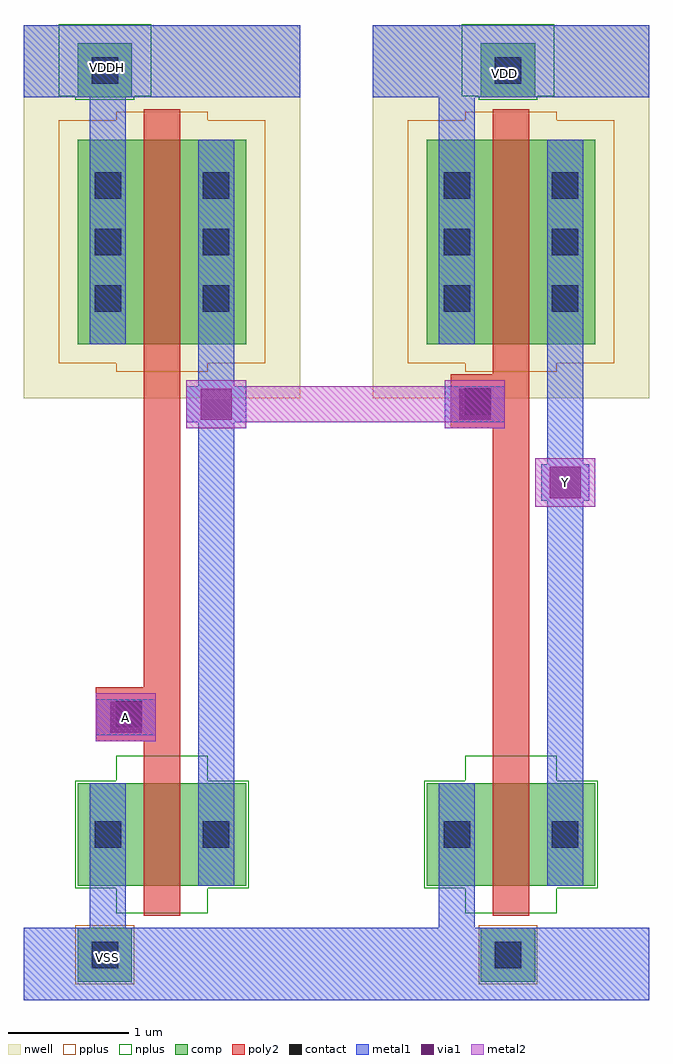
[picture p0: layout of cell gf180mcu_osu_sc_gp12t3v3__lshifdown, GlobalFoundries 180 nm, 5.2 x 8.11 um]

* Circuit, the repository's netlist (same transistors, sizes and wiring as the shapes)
* Copyright 2022 Google LLC
*
* Licensed under the Apache License, Version 2.0 (the "License");
* you may not use this file except in compliance with the License.
* You may obtain a copy of the License at
*
*      http://www.apache.org/licenses/LICENSE-2.0
*
* Unless required by applicable law or agreed to in writing, software
* distributed under the License is distributed on an "AS IS" BASIS,
* WITHOUT WARRANTIES OR CONDITIONS OF ANY KIND, either express or implied.
* See the License for the specific language governing permissions and
* limitations under the License.

.inc "/import/yukari1/lrburle/OSU_180/char/techfiles/design.hspice"
.lib "/import/yukari1/lrburle/OSU_180/char/techfiles/sm141064.hspice" typical

.GLOBAL VDD
.GLOBAL VSS

.option scale=0.05u

.subckt gf180mcu_osu_sc_gp12t3v3__lshifdown A Y
X0 a_26_19 A VDDH VDDH pmos_3p3 w=34 l=6
X1 Y a_26_19 VSS VSS nmos_3p3 w=17 l=6
X2 Y a_26_19 VDD VDD pmos_3p3 w=34 l=6
X3 a_26_19 A VSS VSS nmos_3p3 w=17 l=6
.ends

** hspice subcircuit dictionary

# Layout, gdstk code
import gdstk
lib = gdstk.Library(unit=1e-6, precision=1e-09)
def R(c, l, rs):  # rectangles x0, y0, x1, y1
    for r in rs: c.add(gdstk.rectangle(r[:2], r[2:], *l))
def A(c, l, x, y, w, h, nx, ny, dx, dy):  # array of equal rectangles
    R(c, l, [(x+i*dx, y+j*dy, x+i*dx+w, y+j*dy+h) for i in range(nx) for j in range(ny)])
nwell = (21, 0)
comp = (22, 0)
poly2 = (30, 0)
pplus = (31, 0)
nplus = (32, 0)
contact = (33, 0)
metal1 = (34, 0)
via1 = (35, 0)
metal2 = (36, 0)

gf180mcu_osu_sc_gp12t3v3 = lib.new_cell('gf180mcu_osu_sc_gp12t3v3__lshifdown')
R(gf180mcu_osu_sc_gp12t3v3, nwell, [(0,5,2.3,8.1), (2.9,5,5.2,8.1)])
R(gf180mcu_osu_sc_gp12t3v3, comp, [(0.45,0.15,0.9,0.6), (3.8,0.15,4.25,0.6), (0.45,0.95,1.85,1.8), (3.35,0.95,4.75,1.8), (0.45,5.45,1.85,7.15), (3.35,5.45,4.75,7.15), (0.45,7.5,0.9,7.95), (3.8,7.5,4.25,7.95)])
R(gf180mcu_osu_sc_gp12t3v3, poly2, [(1,0.7,1.3,2.15), (3.9,0.7,4.2,4.75), (0.6,2.15,1.3,2.6), (1,2.6,1.3,7.4), (3.55,4.75,4.2,5.2), (3.9,5.2,4.2,7.4)])
R(gf180mcu_osu_sc_gp12t3v3, pplus, [(0.43,0.13,0.92,0.62), (3.78,0.13,4.27,0.62), (0.77,5.22,1.53,5.29), (3.67,5.22,4.43,5.29), (0.29,5.29,2.01,7.31), (3.19,5.29,4.91,7.31), (0.77,7.31,1.53,7.38), (3.67,7.31,4.43,7.38)])
R(gf180mcu_osu_sc_gp12t3v3, nplus, [(0.77,0.72,1.53,0.93), (3.67,0.72,4.43,0.93), (0.43,0.93,1.87,1.82), (3.33,0.93,4.77,1.82), (0.77,1.82,1.53,2.03), (3.67,1.82,4.43,2.03), (0.43,7.48,0.92,7.51), (3.78,7.48,4.27,7.51), (0.29,7.51,1.06,8.11), (3.64,7.51,4.41,8.11)])
A(gf180mcu_osu_sc_gp12t3v3, contact, 0.59, 5.72, 0.22, 0.22, 1, 3, 0, 0.47)
A(gf180mcu_osu_sc_gp12t3v3, contact, 1.49, 5.72, 0.22, 0.22, 1, 3, 0, 0.47)
A(gf180mcu_osu_sc_gp12t3v3, contact, 3.49, 5.72, 0.22, 0.22, 1, 3, 0, 0.47)
A(gf180mcu_osu_sc_gp12t3v3, contact, 4.39, 5.72, 0.22, 0.22, 1, 3, 0, 0.47)
R(gf180mcu_osu_sc_gp12t3v3, contact, [(0.565,0.265,0.785,0.485), (3.915,0.265,4.135,0.485), (0.59,1.265,0.81,1.485), (1.49,1.265,1.71,1.485), (3.49,1.265,3.71,1.485), (4.39,1.265,4.61,1.485), (0.765,2.265,0.985,2.485), (3.665,4.865,3.885,5.085), (0.565,7.615,0.785,7.835), (3.915,7.615,4.135,7.835)])
R(gf180mcu_osu_sc_gp12t3v3, metal1, [(0,0,5.2,0.6), (0.55,0.6,0.85,1.8), (3.45,0.6,3.75,1.8), (1.45,0.95,1.75,4.8), (4.35,0.95,4.65,4.15), (0.6,2.2,1.1,2.5), (4.3,4.15,4.7,4.45), (4.35,4.45,4.65,7.15), (1.35,4.8,1.85,5.1), (3.5,4.8,4,5.1), (1.45,5.1,1.75,7.15), (0.55,5.45,0.85,7.5), (3.45,5.45,3.75,7.5), (0,7.5,2.3,8.1), (2.9,7.5,5.2,8.1)])
R(gf180mcu_osu_sc_gp12t3v3, via1, [(0.72,2.22,0.98,2.48), (4.37,4.17,4.63,4.43), (1.47,4.82,1.73,5.08), (3.62,4.82,3.88,5.08)])
R(gf180mcu_osu_sc_gp12t3v3, metal2, [(0.6,2.15,1.1,2.55), (4.25,4.1,4.75,4.5), (1.35,4.75,1.85,4.8), (3.5,4.75,4,4.8), (1.35,4.8,4,5.1), (1.35,5.1,1.85,5.15), (3.5,5.1,4,5.15)])
gf180mcu_osu_sc_gp12t3v3.add(gdstk.Label('VSS', (0.7,0.35), layer=34, texttype=0))
gf180mcu_osu_sc_gp12t3v3.add(gdstk.Label('VDDH', (0.7,7.75), layer=34, texttype=0))
gf180mcu_osu_sc_gp12t3v3.add(gdstk.Label('VDD', (4,7.7), layer=34, texttype=0))
gf180mcu_osu_sc_gp12t3v3.add(gdstk.Label('A', (0.85,2.35), layer=36, texttype=10))
gf180mcu_osu_sc_gp12t3v3.add(gdstk.Label('Y', (4.5,4.3), layer=36, texttype=10))

lib.write_gds('gf180mcu_osu_sc_gp12t3v3__lshifdown.gds')
